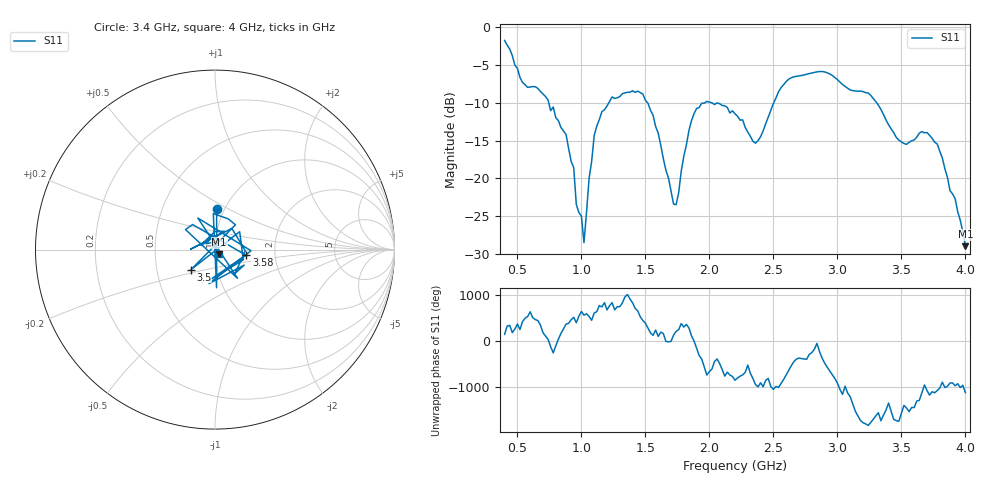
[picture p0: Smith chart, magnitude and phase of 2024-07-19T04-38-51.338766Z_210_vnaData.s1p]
!Created with skrf (http://scikit-rf.org).
# Hz S RI R 50.0
!freq ReS11 ImS11
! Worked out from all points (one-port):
!   181 points, 400 MHz to 4 GHz, reference 50 ohm
!   lowest |S11| = -29.0 dB at 4 GHz (marker M1), VSWR 1.07, Z = 52.4 - j2.75 ohm
!   |S11| at or under -10 dB: 744.9 MHz to 1.214 GHz (469.5 MHz wide, 47.9 % of centre); 2.02 GHz to 2.502 GHz (482.6 MHz wide, 21.3 % of centre); 3.307 GHz to end of sweep (the widest 3 of 4)
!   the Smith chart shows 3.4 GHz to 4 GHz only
!   S11 on the Smith chart (normalised r, x): 3.4 GHz: 0.92, +0.44; 3.5 GHz: 0.75, -0.17; 3.58 GHz: 1.42, -0.09; 4 GHz: 1.05, -0.06
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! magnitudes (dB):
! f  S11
! 400 MHz  -1.7
! 540 MHz  -7.3
! 720 MHz  -9.2
! 860 MHz  -13.7
! 940 MHz  -18.6
! 960 MHz  -23.5
! 1 GHz  -25.0
! 1.02 GHz  -28.5
! 1.1 GHz  -14.3
! 1.16 GHz  -11.2
! 1.3 GHz  -9.2
! 1.48 GHz  -8.8
! 1.6 GHz  -14.0
! 1.72 GHz  -23.4
! 1.76 GHz  -21.9
! 1.84 GHz  -13.7
! 1.9 GHz  -10.8
! 2.2 GHz  -11.5
! 2.36 GHz  -15.4
! 2.66 GHz  -6.6
! 3.1 GHz  -8.3
! 3.26 GHz  -9.0
! 3.4 GHz  -12.9
! 3.5 GHz  -15.2
! 3.56 GHz  -15.2
! 3.58 GHz  -15.0
! 3.78 GHz  -15.5
! 4 GHz  -29.0
